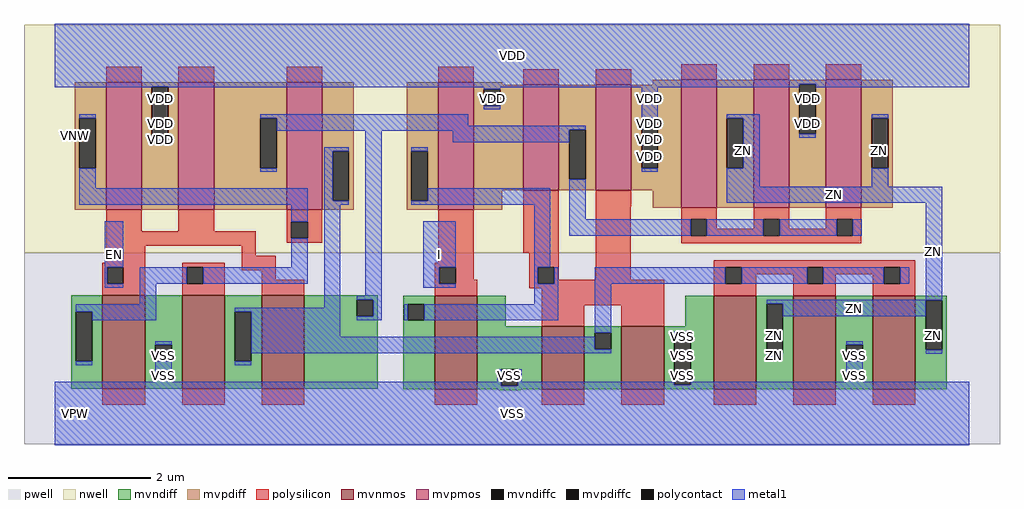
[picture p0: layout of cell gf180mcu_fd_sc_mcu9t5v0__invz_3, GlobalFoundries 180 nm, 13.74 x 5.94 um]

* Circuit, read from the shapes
.subckt gf180mcu_fd_sc_mcu9t5v0__invz_3 EN I ZN VDD VNW VPW VSS
XM1 VSS EN n1 VPW nfet_06v0 w=1.32u l=0.6u
XM2 n2 n1 VSS VPW nfet_06v0 w=1.32u l=0.6u
XM3 n3 EN n2 VPW nfet_06v0 w=1.32u l=0.6u
XM4 VSS I n4 VPW nfet_06v0 w=1.32u l=0.6u
XM5 n2 n4 VSS VPW nfet_06v0 w=0.885u l=0.6u m=2
XM6 ZN n2 VSS VPW nfet_06v0 w=1.32u l=0.6u m=3
XM7 VDD EN n1 VNW pfet_06v0 w=1.8u l=0.5u
XM8 n3 EN VDD VNW pfet_06v0 w=1.8u l=0.5u
XM9 n2 n1 n3 VNW pfet_06v0 w=1.8u l=0.5u
XM10 VDD I n4 VNW pfet_06v0 w=1.8u l=0.5u
XM11 n3 n4 VDD VNW pfet_06v0 w=1.485u l=0.5u m=2
XM12 ZN n3 VDD VNW pfet_06v0 w=1.8u l=0.5u m=3
.ends

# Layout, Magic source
magic
tech gf180mcuD
magscale 1 10
<< nwell >>
rect -86 453 2662 1094
<< pwell >>
rect -86 -86 2662 453
<< mvnmos >>
rect 135 69 255 333
rect 359 69 479 333
rect 583 69 703 333
rect 1070 68 1190 332
rect 1372 68 1492 245
rect 1596 68 1716 245
rect 1856 68 1976 332
rect 2080 68 2200 332
rect 2304 68 2424 332
<< mvpmos >>
rect 145 573 245 933
rect 349 573 449 933
rect 654 573 754 933
rect 1080 573 1180 933
rect 1320 628 1420 925
rect 1524 628 1624 925
rect 1764 580 1864 940
rect 1968 580 2068 940
rect 2172 580 2272 940
<< mvndiff >>
rect 47 287 135 333
rect 47 147 60 287
rect 106 147 135 287
rect 47 69 135 147
rect 255 193 359 333
rect 255 147 284 193
rect 330 147 359 193
rect 255 69 359 147
rect 479 287 583 333
rect 479 147 508 287
rect 554 147 583 287
rect 479 69 583 147
rect 703 320 910 333
rect 703 274 851 320
rect 897 274 910 320
rect 703 69 910 274
rect 982 308 1070 332
rect 982 262 995 308
rect 1041 262 1070 308
rect 982 68 1070 262
rect 1190 245 1270 332
rect 1776 245 1856 332
rect 1190 124 1372 245
rect 1190 78 1258 124
rect 1304 78 1372 124
rect 1190 68 1372 78
rect 1492 227 1596 245
rect 1492 181 1521 227
rect 1567 181 1596 227
rect 1492 68 1596 181
rect 1716 221 1856 245
rect 1716 81 1745 221
rect 1791 81 1856 221
rect 1716 68 1856 81
rect 1976 309 2080 332
rect 1976 169 2005 309
rect 2051 169 2080 309
rect 1976 68 2080 169
rect 2200 193 2304 332
rect 2200 147 2229 193
rect 2275 147 2304 193
rect 2200 68 2304 147
rect 2424 319 2512 332
rect 2424 179 2453 319
rect 2499 179 2512 319
rect 2424 68 2512 179
rect 1250 65 1312 68
<< mvpdiff >>
rect 57 831 145 933
rect 57 691 70 831
rect 116 691 145 831
rect 57 573 145 691
rect 245 920 349 933
rect 245 780 274 920
rect 320 780 349 920
rect 245 573 349 780
rect 449 831 654 933
rect 449 691 579 831
rect 625 691 654 831
rect 449 573 654 691
rect 754 739 842 933
rect 754 599 783 739
rect 829 599 842 739
rect 754 573 842 599
rect 992 739 1080 933
rect 992 599 1005 739
rect 1051 599 1080 739
rect 992 573 1080 599
rect 1180 925 1260 933
rect 1684 925 1764 940
rect 1180 913 1320 925
rect 1180 867 1209 913
rect 1255 867 1320 913
rect 1180 628 1320 867
rect 1420 799 1524 925
rect 1420 659 1449 799
rect 1495 659 1524 799
rect 1420 628 1524 659
rect 1624 831 1764 925
rect 1624 691 1653 831
rect 1699 691 1764 831
rect 1624 628 1764 691
rect 1180 573 1260 628
rect 1684 580 1764 628
rect 1864 831 1968 940
rect 1864 691 1893 831
rect 1939 691 1968 831
rect 1864 580 1968 691
rect 2068 927 2172 940
rect 2068 787 2097 927
rect 2143 787 2172 927
rect 2068 580 2172 787
rect 2272 831 2360 940
rect 2272 691 2301 831
rect 2347 691 2360 831
rect 2272 580 2360 691
<< mvndiffc >>
rect 60 147 106 287
rect 284 147 330 193
rect 508 147 554 287
rect 851 274 897 320
rect 995 262 1041 308
rect 1258 78 1304 124
rect 1521 181 1567 227
rect 1745 81 1791 221
rect 2005 169 2051 309
rect 2229 147 2275 193
rect 2453 179 2499 319
<< mvpdiffc >>
rect 70 691 116 831
rect 274 780 320 920
rect 579 691 625 831
rect 783 599 829 739
rect 1005 599 1051 739
rect 1209 867 1255 913
rect 1449 659 1495 799
rect 1653 691 1699 831
rect 1893 691 1939 831
rect 2097 787 2143 927
rect 2301 691 2347 831
<< polysilicon >>
rect 145 933 245 977
rect 349 933 449 977
rect 654 933 754 977
rect 1080 933 1180 977
rect 1320 925 1420 969
rect 1524 925 1624 969
rect 1764 940 1864 984
rect 1968 940 2068 984
rect 2172 940 2272 984
rect 145 513 245 573
rect 349 513 449 573
rect 654 540 754 573
rect 145 473 567 513
rect 654 494 667 540
rect 713 494 754 540
rect 654 481 754 494
rect 145 425 255 473
rect 527 444 567 473
rect 135 412 255 425
rect 135 366 148 412
rect 194 366 255 412
rect 135 333 255 366
rect 359 412 479 425
rect 359 366 372 412
rect 418 366 479 412
rect 527 404 623 444
rect 1080 425 1180 573
rect 1320 452 1420 628
rect 359 333 479 366
rect 583 377 623 404
rect 1070 412 1180 425
rect 583 333 703 377
rect 1070 366 1083 412
rect 1129 376 1180 412
rect 1336 412 1420 452
rect 1129 366 1190 376
rect 1070 332 1190 366
rect 1336 366 1361 412
rect 1407 377 1420 412
rect 1524 584 1624 628
rect 1524 377 1623 584
rect 1764 547 1864 580
rect 1764 501 1791 547
rect 1837 520 1864 547
rect 1968 547 2068 580
rect 1968 520 1996 547
rect 1837 501 1996 520
rect 2042 520 2068 547
rect 2172 547 2272 580
rect 2172 520 2202 547
rect 2042 501 2202 520
rect 2248 501 2272 547
rect 1764 480 2272 501
rect 1856 412 2424 432
rect 1407 366 1716 377
rect 1336 353 1716 366
rect 135 25 255 69
rect 359 25 479 69
rect 583 25 703 69
rect 1372 305 1716 353
rect 1856 366 1889 412
rect 1935 392 2119 412
rect 1935 366 1976 392
rect 1856 332 1976 366
rect 2080 366 2119 392
rect 2165 392 2335 412
rect 2165 366 2200 392
rect 2080 332 2200 366
rect 2304 366 2335 392
rect 2381 366 2424 412
rect 2304 332 2424 366
rect 1372 245 1492 305
rect 1596 245 1716 305
rect 1070 24 1190 68
rect 1372 24 1492 68
rect 1596 24 1716 68
rect 1856 24 1976 68
rect 2080 24 2200 68
rect 2304 24 2424 68
<< polycontact >>
rect 667 494 713 540
rect 148 366 194 412
rect 372 366 418 412
rect 1083 366 1129 412
rect 1361 366 1407 412
rect 1791 501 1837 547
rect 1996 501 2042 547
rect 2202 501 2248 547
rect 1889 366 1935 412
rect 2119 366 2165 412
rect 2335 366 2381 412
<< metal1 >>
rect 0 927 2576 1098
rect 0 920 2097 927
rect 0 918 274 920
rect 70 831 116 842
rect 320 918 2097 920
rect 1209 913 1255 918
rect 1209 856 1255 867
rect 274 769 320 780
rect 579 831 1165 842
rect 70 634 116 691
rect 625 810 1165 831
rect 1653 831 1699 918
rect 625 799 1495 810
rect 625 796 1449 799
rect 579 680 625 691
rect 759 739 829 750
rect 70 588 713 634
rect 142 412 194 542
rect 667 540 713 588
rect 667 412 713 494
rect 142 366 148 412
rect 142 354 194 366
rect 240 366 372 412
rect 418 366 713 412
rect 759 599 783 739
rect 759 588 829 599
rect 240 308 286 366
rect 60 287 286 308
rect 759 298 805 588
rect 875 331 921 796
rect 1121 764 1449 796
rect 1005 739 1051 750
rect 1653 680 1699 691
rect 1893 831 1986 842
rect 1939 691 1986 831
rect 2143 918 2576 927
rect 2097 776 2143 787
rect 2301 831 2347 842
rect 1051 599 1396 634
rect 1005 588 1396 599
rect 1038 412 1129 542
rect 1038 366 1083 412
rect 1038 354 1129 366
rect 1350 412 1396 588
rect 1449 547 1495 659
rect 1893 639 1986 691
rect 2301 639 2347 691
rect 1893 593 2499 639
rect 1449 501 1791 547
rect 1837 501 1996 547
rect 2042 501 2202 547
rect 2248 501 2273 547
rect 1350 366 1361 412
rect 1407 366 1418 412
rect 106 262 286 287
rect 508 287 805 298
rect 60 136 106 147
rect 284 193 330 204
rect 284 90 330 147
rect 554 216 805 287
rect 851 320 921 331
rect 897 274 921 320
rect 1350 308 1418 366
rect 851 263 921 274
rect 984 262 995 308
rect 1041 262 1418 308
rect 1521 366 1889 412
rect 1935 366 2119 412
rect 2165 366 2335 412
rect 2381 366 2406 412
rect 1521 227 1567 366
rect 2453 320 2499 593
rect 2005 319 2499 320
rect 2005 309 2453 319
rect 554 181 1521 216
rect 554 170 1567 181
rect 1745 221 1791 232
rect 508 136 554 147
rect 1247 90 1258 124
rect 0 78 1258 90
rect 1304 90 1315 124
rect 1304 81 1745 90
rect 2051 274 2453 309
rect 2005 158 2051 169
rect 2229 193 2275 204
rect 2453 168 2499 179
rect 2229 90 2275 147
rect 1791 81 2576 90
rect 1304 78 2576 81
rect 0 -90 2576 78
<< labels >>
flabel metal1 s 142 354 194 542 0 FreeSans 200 0 0 0 EN
port 1 nsew default input
flabel metal1 s 1038 354 1129 542 0 FreeSans 200 0 0 0 I
port 2 nsew default input
flabel metal1 s 0 918 2576 1098 0 FreeSans 200 0 0 0 VDD
port 4 nsew power bidirectional abutment
flabel metal1 s 1745 204 1791 232 0 FreeSans 200 0 0 0 VSS
port 7 nsew ground bidirectional abutment
flabel metal1 s 2301 639 2347 842 0 FreeSans 200 0 0 0 ZN
port 3 nsew default output
flabel nwell s 10 734 110 834 0 FreeSans 400 0 0 0 VNW
port 5 nsew power bidirectional
flabel pwell s 10 -50 110 50 0 FreeSans 400 0 0 0 VPW
port 6 nsew ground bidirectional
rlabel metal1 s 1893 639 1986 842 1 ZN
port 3 nsew default output
rlabel metal1 s 1893 593 2499 639 1 ZN
port 3 nsew default output
rlabel metal1 s 2453 320 2499 593 1 ZN
port 3 nsew default output
rlabel metal1 s 2005 274 2499 320 1 ZN
port 3 nsew default output
rlabel metal1 s 2453 168 2499 274 1 ZN
port 3 nsew default output
rlabel metal1 s 2005 168 2051 274 1 ZN
port 3 nsew default output
rlabel metal1 s 2005 158 2051 168 1 ZN
port 3 nsew default output
rlabel metal1 s 2097 856 2143 918 1 VDD
port 4 nsew power bidirectional abutment
rlabel metal1 s 1653 856 1699 918 1 VDD
port 4 nsew power bidirectional abutment
rlabel metal1 s 1209 856 1255 918 1 VDD
port 4 nsew power bidirectional abutment
rlabel metal1 s 274 856 320 918 1 VDD
port 4 nsew power bidirectional abutment
rlabel metal1 s 2097 776 2143 856 1 VDD
port 4 nsew power bidirectional abutment
rlabel metal1 s 1653 776 1699 856 1 VDD
port 4 nsew power bidirectional abutment
rlabel metal1 s 274 776 320 856 1 VDD
port 4 nsew power bidirectional abutment
rlabel metal1 s 1653 769 1699 776 1 VDD
port 4 nsew power bidirectional abutment
rlabel metal1 s 274 769 320 776 1 VDD
port 4 nsew power bidirectional abutment
rlabel metal1 s 1653 680 1699 769 1 VDD
port 4 nsew power bidirectional abutment
rlabel metal1 s 2229 124 2275 204 1 VSS
port 7 nsew ground bidirectional abutment
rlabel metal1 s 1745 124 1791 204 1 VSS
port 7 nsew ground bidirectional abutment
rlabel metal1 s 284 124 330 204 1 VSS
port 7 nsew ground bidirectional abutment
rlabel metal1 s 2229 90 2275 124 1 VSS
port 7 nsew ground bidirectional abutment
rlabel metal1 s 1745 90 1791 124 1 VSS
port 7 nsew ground bidirectional abutment
rlabel metal1 s 1247 90 1315 124 1 VSS
port 7 nsew ground bidirectional abutment
rlabel metal1 s 284 90 330 124 1 VSS
port 7 nsew ground bidirectional abutment
rlabel metal1 s 0 -90 2576 90 1 VSS
port 7 nsew ground bidirectional abutment
<< properties >>
string FIXED_BBOX 0 0 2576 1008
string GDS_END 936502
string GDS_FILE $PDKPATH/libs.ref/gf180mcu_fd_sc_mcu9t5v0/gds/gf180mcu_fd_sc_mcu9t5v0.gds
string GDS_START 929618
string LEFclass core
string LEFsite GF018hv5v_green_sc9
string LEFsymmetry X Y
<< end >>
